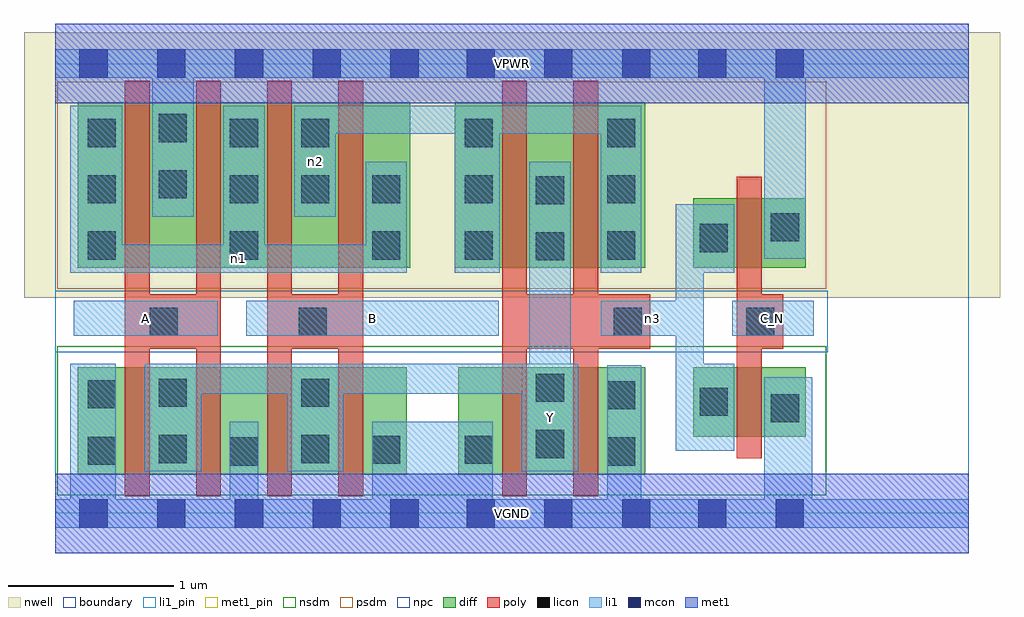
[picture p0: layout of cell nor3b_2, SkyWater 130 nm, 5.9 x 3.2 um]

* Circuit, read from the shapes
.subckt nor3b_2 A B C_N VGND VPWR Y n1 n2 n3
XM1 Y A VGND VSUBS sky130_fd_pr__nfet_01v8 w=0.65 l=0.15 m=2
XM2 Y B VGND VSUBS sky130_fd_pr__nfet_01v8 w=0.65 l=0.15 m=2
XM3 Y n3 VGND VSUBS sky130_fd_pr__nfet_01v8 w=0.65 l=0.15 m=2
XM4 VGND C_N n3 VSUBS sky130_fd_pr__nfet_01v8 w=0.42 l=0.15
XM5 VPWR A n1 n4 sky130_fd_pr__pfet_01v8 w=1 l=0.15 m=2
XM6 n2 B n1 n4 sky130_fd_pr__pfet_01v8 w=1 l=0.15 m=2
XM7 Y n3 n2 n4 sky130_fd_pr__pfet_01v8 w=1 l=0.15 m=2
XM8 VPWR C_N n3 n4 sky130_fd_pr__pfet_01v8 w=0.42 l=0.15
.ends

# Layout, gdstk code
import gdstk
lib = gdstk.Library(unit=1e-6, precision=1e-09)
def R(c, l, rs):  # rectangles x0, y0, x1, y1
    for r in rs: c.add(gdstk.rectangle(r[:2], r[2:], *l))
def A(c, l, x, y, w, h, nx, ny, dx, dy):  # array of equal rectangles
    R(c, l, [(x+i*dx, y+j*dy, x+i*dx+w, y+j*dy+h) for i in range(nx) for j in range(ny)])
nwell = (64, 20)
diff = (65, 20)
poly = (66, 20)
licon = (66, 44)
li1_pin = (67, 16)
li1 = (67, 20)
mcon = (67, 44)
met1_pin = (68, 16)
met1 = (68, 20)
nsdm = (93, 44)
psdm = (94, 20)
npc = (95, 20)
boundary = (235, 4)

nor3b_2 = lib.new_cell('nor3b_2')
R(nor3b_2, nwell, [(-0.19,1.305,5.71,2.91), (0,1.305,5.52,2.91)])
R(nor3b_2, diff, [(0.135,0.235,2.125,0.885), (2.435,0.235,3.565,0.885), (3.855,0.465,4.535,0.885), (0.135,1.485,2.145,2.485), (2.415,1.485,3.565,2.485), (3.855,1.485,4.535,1.905)])
A(nor3b_2, poly, 0.42, 0.105, 0.15, 2.51, 4, 1, 0.43, 0)
R(nor3b_2, poly, [(2.7,0.105,2.85,2.615), (3.13,0.105,3.28,2.615), (4.12,0.335,4.27,2.035), (0.42,0.995,1,1.325), (1.28,0.995,1.86,1.325), (2.7,0.995,3.595,1.325), (4.12,0.995,4.4,1.325)])
A(nor3b_2, licon, 0.195, 1.535, 0.17, 0.17, 3, 1, 0.86, 0)
A(nor3b_2, licon, 2.475, 1.535, 0.17, 0.17, 1, 3, 0, 0.34)
A(nor3b_2, licon, 3.335, 1.535, 0.17, 0.17, 1, 3, 0, 0.34)
A(nor3b_2, licon, 1.055, 1.875, 0.17, 0.17, 3, 1, 0.43, 0)
R(nor3b_2, licon, [(1.055,0.29,1.225,0.46), (3.335,0.29,3.505,0.46), (0.195,0.295,0.365,0.465), (1.915,0.3,2.085,0.47), (2.475,0.3,2.645,0.47), (0.625,0.305,0.795,0.475), (1.485,0.305,1.655,0.475), (2.905,0.335,3.075,0.505), (4.325,0.55,4.495,0.72), (3.895,0.59,4.065,0.76), (3.335,0.63,3.505,0.8), (0.195,0.635,0.365,0.805), (0.625,0.645,0.795,0.815), (1.485,0.645,1.655,0.815), (2.905,0.675,3.075,0.845), (0.57,1.075,0.74,1.245), (1.47,1.075,1.64,1.245), (3.375,1.075,3.545,1.245), (4.175,1.075,4.345,1.245), (2.905,1.53,3.075,1.7), (3.895,1.58,4.065,1.75), (4.325,1.645,4.495,1.815), (2.905,1.87,3.075,2.04), (0.195,1.875,0.365,2.045), (0.625,1.905,0.795,2.075), (0.195,2.215,0.365,2.385), (1.055,2.215,1.225,2.385), (1.485,2.215,1.655,2.385), (0.625,2.245,0.795,2.415)])
R(nor3b_2, li1_pin, [(2.82,0.255,3.16,0.905), (0.11,1.075,0.98,1.285), (1.155,1.075,2.68,1.285), (4.09,1.075,4.585,1.285)])
R(nor3b_2, li1, [(0,-0.085,5.52,0.085), (0.09,-0.085,0.365,0.905), (1.055,-0.085,1.225,0.555), (1.915,-0.085,2.645,0.555), (3.335,-0.085,3.54,0.895), (4.285,-0.085,4.575,0.825), (0.54,0.255,0.88,0.905), (1.4,0.255,1.74,0.905), (2.82,0.255,3.16,0.905), (2.865,0.255,3.115,2.125), (3.75,0.38,3.92,1.87), (3.75,0.38,4.105,0.905), (0.54,0.725,3.16,0.905), (0.11,1.075,0.98,1.285), (1.155,1.075,2.68,1.285), (3.295,1.075,3.92,1.285), (4.09,1.075,4.585,1.285), (0.09,1.455,2.125,1.625), (0.09,1.455,0.405,2.465), (1.015,1.455,1.265,2.465), (1.875,1.455,2.125,2.125), (2.415,1.455,2.685,2.465), (3.295,1.455,3.54,2.465), (3.75,1.455,4.105,1.87), (4.285,1.54,4.535,2.805), (0.585,1.795,0.835,2.805), (1.445,1.795,1.695,2.465), (1.445,2.295,3.54,2.465), (0,2.635,5.52,2.805)])
A(nor3b_2, mcon, 0.145, -0.085, 0.17, 0.17, 5, 2, 0.47, 2.72)
A(nor3b_2, mcon, 2.485, -0.085, 0.17, 0.17, 3, 2, 0.47, 2.72)
R(nor3b_2, mcon, [(3.885,-0.085,4.055,0.085), (4.355,-0.085,4.525,0.085), (3.885,2.635,4.055,2.805), (4.355,2.635,4.525,2.805)])
R(nor3b_2, met1_pin, [(0,-0.24,5.52,0.24), (0,2.48,5.52,2.96)])
R(nor3b_2, met1, [(0,-0.24,5.52,0.24), (0,2.48,5.52,2.96)])
R(nor3b_2, nsdm, [(0.01,0.11,4.66,1.01)])
R(nor3b_2, psdm, [(0.01,1.36,4.66,2.61)])
R(nor3b_2, npc, [(0,0.975,4.67,1.345)])
R(nor3b_2, boundary, [(0,0,5.52,2.72)])
nor3b_2.add(gdstk.Label('A', (0.545,1.18), layer=67, texttype=5))
nor3b_2.add(gdstk.Label('B', (1.917,1.18), layer=67, texttype=5))
nor3b_2.add(gdstk.Label('C_N', (4.337,1.18), layer=67, texttype=5))
nor3b_2.add(gdstk.Label('Y', (2.99,0.58), layer=67, texttype=5))
nor3b_2.add(gdstk.Label('n3', (3.607,1.18), layer=67, texttype=5))
nor3b_2.add(gdstk.Label('n1', (1.107,1.54), layer=67, texttype=5))
nor3b_2.add(gdstk.Label('n2', (1.57,2.13), layer=67, texttype=5))
nor3b_2.add(gdstk.Label('VPWR', (2.76,2.72), layer=68, texttype=5))
nor3b_2.add(gdstk.Label('VGND', (2.76,0), layer=68, texttype=5))
nor3b_2.add(gdstk.Label('A', (0.545,1.18), layer=67, texttype=16))
nor3b_2.add(gdstk.Label('B', (1.917,1.18), layer=67, texttype=16))
nor3b_2.add(gdstk.Label('C_N', (4.337,1.18), layer=67, texttype=16))
nor3b_2.add(gdstk.Label('Y', (2.99,0.58), layer=67, texttype=16))
nor3b_2.add(gdstk.Label('VPWR', (2.76,2.72), layer=68, texttype=16))
nor3b_2.add(gdstk.Label('VGND', (2.76,0), layer=68, texttype=16))

lib.write_gds('nor3b_2.gds')
